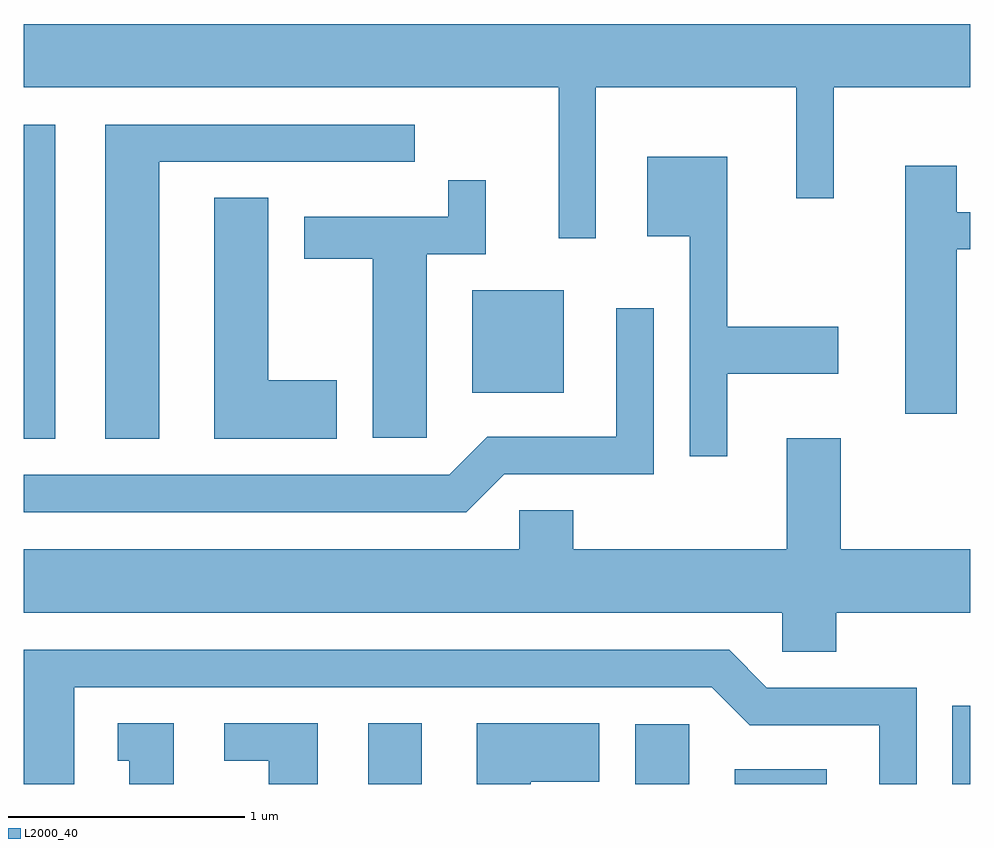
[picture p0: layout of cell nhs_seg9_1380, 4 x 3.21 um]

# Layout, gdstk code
import gdstk
lib = gdstk.Library(unit=1e-6, precision=1e-09)
def R(c, l, rs):  # rectangles x0, y0, x1, y1
    for r in rs: c.add(gdstk.rectangle(r[:2], r[2:], *l))
def P(c, l, *ps):  # polygons
    for p in ps: c.add(gdstk.Polygon(p, *l))
L2000_40 = (2000, 40)

nhs_seg9_1380 = lib.new_cell('nhs_seg9_1380')
R(nhs_seg9_1380, L2000_40, [(227.066,1984.432,227.294,1984.689), (228.196,1984.432,228.424,1984.684), (228.616,1984.432,229.004,1984.494), (229.536,1984.432,229.611,1984.763), (225.611,1985.891,225.744,1987.219), (227.506,1986.086,227.894,1986.519)])
P(nhs_seg9_1380, L2000_40, [(228.029,1987.376),(228.876,1987.376),(228.876,1986.908),(229.034,1986.908),(229.034,1987.376),(229.611,1987.376),(229.611,1987.644),(225.611,1987.644),(225.611,1987.376),(227.871,1987.376),(227.871,1986.738),(228.029,1986.738)],
  [(226.184,1987.061),(227.263,1987.061),(227.263,1987.219),(225.956,1987.219),(225.956,1985.891),(226.184,1985.891)],
  [(228.584,1986.166),(229.054,1986.166),(229.054,1986.364),(228.584,1986.364),(228.584,1987.084),(228.246,1987.084),(228.246,1986.746),(228.426,1986.746),(228.426,1985.818),(228.584,1985.818)],
  [(229.554,1986.691),(229.611,1986.691),(229.611,1986.849),(229.554,1986.849),(229.554,1987.044),(229.336,1987.044),(229.336,1985.996),(229.554,1985.996)],
  [(227.314,1986.671),(227.564,1986.671),(227.564,1986.983),(227.406,1986.983),(227.406,1986.829),(226.796,1986.829),(226.796,1986.651),(227.086,1986.651),(227.086,1985.896),(227.314,1985.896)],
  [(226.934,1986.139),(226.644,1986.139),(226.644,1986.909),(226.416,1986.909),(226.416,1985.891),(226.934,1985.891)],
  [(227.642,1985.741),(228.274,1985.741),(228.274,1986.443),(228.116,1986.443),(228.116,1985.899),(227.569,1985.899),(227.409,1985.739),(225.611,1985.739),(225.611,1985.581),(227.482,1985.581)],
  [(229.044,1985.156),(229.611,1985.156),(229.611,1985.424),(229.064,1985.424),(229.064,1985.894),(228.836,1985.894),(228.836,1985.424),(227.934,1985.424),(227.934,1985.589),(227.706,1985.589),(227.706,1985.424),(225.611,1985.424),(225.611,1985.156),(228.816,1985.156),(228.816,1984.991),(229.044,1984.991)],
  [(225.824,1984.841),(228.519,1984.841),(228.679,1984.681),(229.226,1984.681),(229.226,1984.432),(229.384,1984.432),(229.384,1984.839),(228.752,1984.839),(228.592,1984.999),(225.611,1984.999),(225.611,1984.432),(225.824,1984.432)],
  [(227.754,1984.441),(228.044,1984.441),(228.044,1984.689),(227.526,1984.689),(227.526,1984.432),(227.754,1984.432)],
  [(226.244,1984.689),(226.008,1984.689),(226.008,1984.531),(226.056,1984.531),(226.056,1984.432),(226.244,1984.432)],
  [(226.854,1984.689),(226.458,1984.689),(226.458,1984.531),(226.646,1984.531),(226.646,1984.432),(226.854,1984.432)])

lib.write_gds('nhs_seg9_1380.gds')
